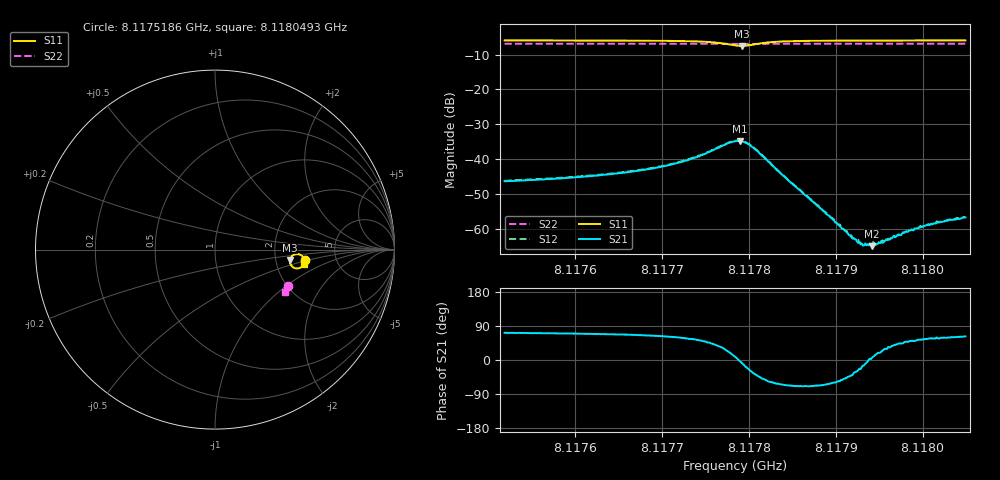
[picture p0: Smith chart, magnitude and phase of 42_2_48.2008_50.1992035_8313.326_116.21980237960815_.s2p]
#  HZ  S  RI  R  50.00
! Rohde & Schwarz Vector Network Analyzer
! Rohde-Schwarz,ZNB20-2Port,1311601062101988,3.16
! Created: UTC 3/20/2024, 11:37:54 AM
! freq[Hz]  re:S11  im:S11  re:S21  im:S21  re:S12  im:S12  re:S22  im:S22
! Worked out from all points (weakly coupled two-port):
!   401 points, 8.1175186 GHz to 8.1180493 GHz, reference 50 ohm
!   highest |S21| = -34.75 dB at 8.1177893 GHz (marker M1); lowest = -64.9 dB at 8.1179418 GHz (marker M2)
!   lowest |S11| = -7.5 dB at 8.1177919 GHz (marker M3), VSWR 2.46, Z = 120 - j17 ohm
!   |S11| at or under -10 dB: nowhere
!   |S22| runs from -7.0 to -6.9 dB; largest |S21 - S12| = 0.00051
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8.11751862e9  0.5015 -0.0597  0.00151 0.00459  0.00162 0.00463  0.4039 -0.2029
8.1176075e9  0.4992 -0.0698  0.00199 0.00522  0.00207 0.00533  0.4014 -0.2089
8.11765791e9  0.4966 -0.0772  0.00253 0.00596  0.00263 0.00604  0.3997 -0.2123
8.11769639e9  0.4927 -0.085  0.00344 0.00685  0.00361 0.00697  0.3982 -0.2148
8.11774017e9  0.4794 -0.0986  0.00644 0.00858  0.0067 0.00874  0.3964 -0.2179
8.11776803e9  0.4496 -0.1045  0.0127 0.00852  0.0131 0.00847  0.3941 -0.2195
8.11778394e9  0.4211 -0.0826  0.0178 0.00281  0.0182 0.0026  0.3928 -0.2191
8.11778925e9  0.417 -0.0668  0.0183 -0.000781  0.0184 -0.000989  0.3925 -0.2187
8.1177919e9  0.4174 -0.0584  0.0177 -0.00243  0.018 -0.00285  0.3926 -0.2184
8.11779986e9  0.4286 -0.0365  0.0149 -0.00669  0.015 -0.00709  0.3931 -0.2181
8.11780782e9  0.4467 -0.0258  0.0107 -0.00853  0.0108 -0.00878  0.3936 -0.2185
8.1178317e9  0.4823 -0.0331  0.00321 -0.00628  0.00337 -0.0064  0.3944 -0.2204
8.11787283e9  0.4962 -0.0529  0.000912 -0.00233  0.000898 -0.00238  0.3936 -0.2238
8.11792192e9  0.4988 -0.0655  0.000604 -0.000382  0.000598 -0.000382  0.3918 -0.2274
8.11792988e9  0.4989 -0.0669  0.000581 -0.000198  0.000579 -0.000187  0.3917 -0.2281
8.11793518e9  0.4988 -0.0678  0.000577 -7.56e-05  0.000593 -7.6e-05  0.3916 -0.2283
8.11794182e9  0.4989 -0.0691  0.000564 6e-05  0.000563 5.29e-05  0.3914 -0.2288
8.11794845e9  0.4989 -0.0701  0.000581 0.000198  0.000621 0.00017  0.3911 -0.2292
8.11796172e9  0.499 -0.0721  0.000589 0.000382  0.000601 0.000376  0.3907 -0.23
8.11798427e9  0.4987 -0.0751  0.000622 0.000714  0.000677 0.000728  0.3899 -0.2316
8.11800417e9  0.4986 -0.0776  0.000649 0.000926  0.00069 0.000884  0.3892 -0.2328
8.11804928e9  0.4981 -0.0826  0.000677 0.0013  0.000714 0.0013  0.3876 -0.2357
